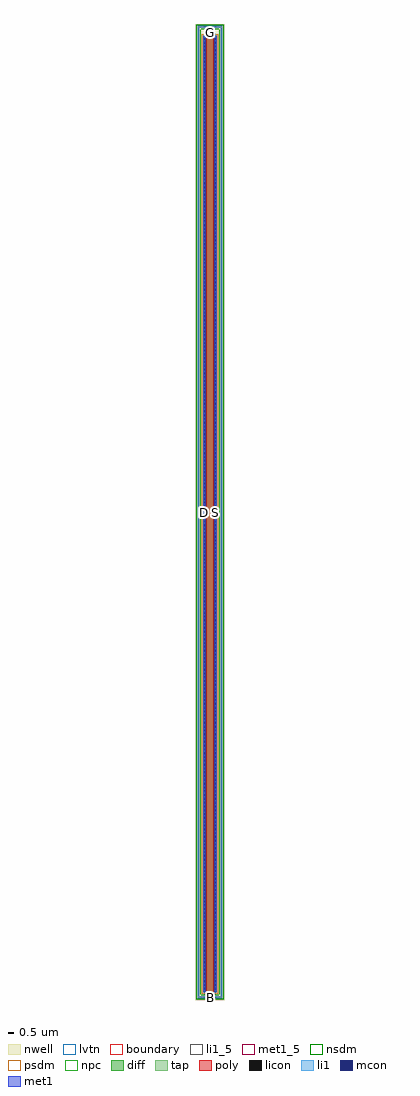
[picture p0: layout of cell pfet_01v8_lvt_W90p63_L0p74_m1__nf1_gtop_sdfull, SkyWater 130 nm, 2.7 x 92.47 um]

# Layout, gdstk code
import gdstk
lib = gdstk.Library(unit=1e-6, precision=1e-09)
def R(c, l, rs):  # rectangles x0, y0, x1, y1
    for r in rs: c.add(gdstk.rectangle(r[:2], r[2:], *l))
def A(c, l, x, y, w, h, nx, ny, dx, dy):  # array of equal rectangles
    R(c, l, [(x+i*dx, y+j*dy, x+i*dx+w, y+j*dy+h) for i in range(nx) for j in range(ny)])
nwell = (64, 20)
diff = (65, 20)
tap = (65, 44)
poly = (66, 20)
licon = (66, 44)
li1_5 = (67, 5)
li1 = (67, 20)
mcon = (67, 44)
met1_5 = (68, 5)
met1 = (68, 20)
nsdm = (93, 44)
psdm = (94, 20)
npc = (95, 20)
lvtn = (125, 44)
boundary = (235, 4)

sky130_fd_pr__pfet_01v8_ = lib.new_cell('sky130_fd_pr__pfet_01v8_lvt_XK4R5N')
R(sky130_fd_pr__pfet_01v8_, nwell, [(-1.35,-46.235,1.35,46.235)])
R(sky130_fd_pr__pfet_01v8_, diff, [(-0.66,-45.495,0.66,45.135)])
R(sky130_fd_pr__pfet_01v8_, tap, [(-1.17,-46.055,1.17,-45.885), (-1.17,-45.885,-1,45.885), (1,-45.885,1.17,45.885), (-1.17,45.885,1.17,46.055)])
R(sky130_fd_pr__pfet_01v8_, poly, [(-0.37,-45.625,0.37,45.62)])
A(sky130_fd_pr__pfet_01v8_, licon, -0.595, -46.055, 0.17, 0.17, 4, 2, 0.34, 91.94)
A(sky130_fd_pr__pfet_01v8_, licon, -1.17, -45.475, 0.17, 0.17, 1, 268, 0, 0.34)
A(sky130_fd_pr__pfet_01v8_, licon, 1, -45.475, 0.17, 0.17, 1, 268, 0, 0.34)
A(sky130_fd_pr__pfet_01v8_, licon, -0.6, -45.315, 0.17, 0.17, 1, 266, 0, 0.34)
A(sky130_fd_pr__pfet_01v8_, licon, 0.43, -45.315, 0.17, 0.17, 1, 266, 0, 0.34)
R(sky130_fd_pr__pfet_01v8_, licon, [(-0.255,45.37,-0.085,45.54), (0.085,45.37,0.255,45.54)])
R(sky130_fd_pr__pfet_01v8_, li1, [(-1.17,-46.055,1.17,-45.885), (-1.17,-45.885,-1,45.885), (1,-45.885,1.17,45.885), (-0.6,-45.515,-0.43,45.155), (0.43,-45.515,0.6,45.155), (-0.37,45.37,0.37,45.54), (-1.17,45.885,1.17,46.055)])
A(sky130_fd_pr__pfet_01v8_, mcon, -0.6, -45.265, 0.17, 0.17, 1, 251, 0, 0.36)
A(sky130_fd_pr__pfet_01v8_, mcon, 0.43, -45.265, 0.17, 0.17, 1, 251, 0, 0.36)
R(sky130_fd_pr__pfet_01v8_, mcon, [(-0.265,45.37,-0.095,45.54), (0.095,45.37,0.265,45.54)])
R(sky130_fd_pr__pfet_01v8_, met1, [(-0.63,-45.495,-0.4,45.135), (0.4,-45.495,0.63,45.135), (-0.35,45.34,0.35,45.57)])
R(sky130_fd_pr__pfet_01v8_, nsdm, [(-1.295,-46.18,1.295,-45.76), (-1.295,-45.76,-0.875,45.76), (0.875,-45.76,1.295,45.76), (-1.295,45.76,1.295,46.18)])
R(sky130_fd_pr__pfet_01v8_, psdm, [(-0.785,-45.62,0.785,45.26)])
R(sky130_fd_pr__pfet_01v8_, npc, [(-0.355,45.27,0.355,45.64)])
R(sky130_fd_pr__pfet_01v8_, lvtn, [(-0.55,-45.675,0.55,45.315)])
R(sky130_fd_pr__pfet_01v8_, boundary, [(-1.085,-45.97,1.085,45.97)])
sky130_fd_pr__pfet_01v8_.add(gdstk.Label('B', (0,-45.97), layer=67, texttype=5))
sky130_fd_pr__pfet_01v8_.add(gdstk.Label('D', (-0.515,-0.18), layer=67, texttype=5))
sky130_fd_pr__pfet_01v8_.add(gdstk.Label('S', (0.515,-0.18), layer=67, texttype=5))
sky130_fd_pr__pfet_01v8_.add(gdstk.Label('G', (0,45.455), layer=67, texttype=5))

pfet_01v8_lvt_w90p63_l0p = lib.new_cell('pfet_01v8_lvt_W90p63_L0p74_m1__nf1_gtop_sdfull')
R(pfet_01v8_lvt_w90p63_l0p, li1_5, [(1,-0.085,1.17,0.085)])
R(pfet_01v8_lvt_w90p63_l0p, li1, [(1,-0.085,1.17,0.085)])
R(pfet_01v8_lvt_w90p63_l0p, met1_5, [(0.455,45.79,0.685,45.99), (1.485,45.79,1.715,45.99), (0.735,91.31,1.435,91.54)])
R(pfet_01v8_lvt_w90p63_l0p, met1, [(0.455,45.79,0.685,45.99), (1.485,45.79,1.715,45.99), (0.735,91.31,1.435,91.54)])
pfet_01v8_lvt_w90p63_l0p.add(gdstk.Reference(sky130_fd_pr__pfet_01v8_, (1.085,45.97)))
pfet_01v8_lvt_w90p63_l0p.add(gdstk.Label('D', (0.57,45.89), layer=68, texttype=5))
pfet_01v8_lvt_w90p63_l0p.add(gdstk.Label('S', (1.6,45.89), layer=68, texttype=5))
pfet_01v8_lvt_w90p63_l0p.add(gdstk.Label('G', (1.085,91.425), layer=68, texttype=5))
pfet_01v8_lvt_w90p63_l0p.add(gdstk.Label('B', (1.085,0), layer=67, texttype=5))

lib.write_gds('pfet_01v8_lvt_W90p63_L0p74_m1__nf1_gtop_sdfull.gds')
